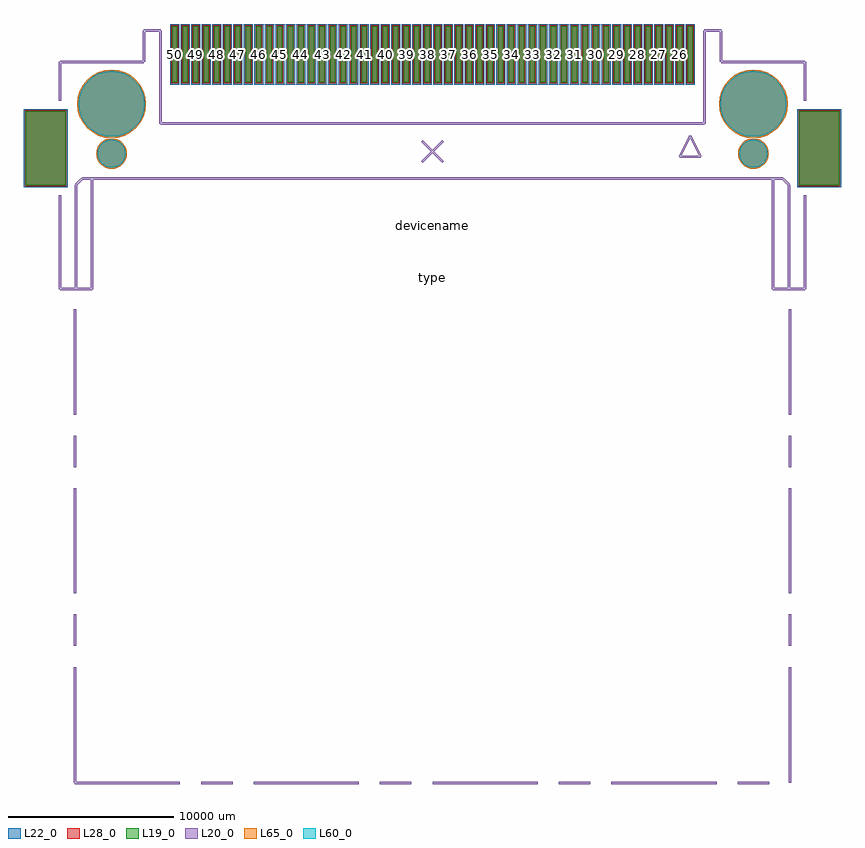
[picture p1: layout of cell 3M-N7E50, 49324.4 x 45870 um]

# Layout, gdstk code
import gdstk
lib = gdstk.Library(unit=1e-6, precision=1e-09)
def R(c, l, rs):  # rectangles x0, y0, x1, y1
    for r in rs: c.add(gdstk.rectangle(r[:2], r[2:], *l))
def A(c, l, x, y, w, h, nx, ny, dx, dy):  # array of equal rectangles
    R(c, l, [(x+i*dx, y+j*dy, x+i*dx+w, y+j*dy+h) for i in range(nx) for j in range(ny)])
def P(c, l, *ps):  # polygons
    for p in ps: c.add(gdstk.Polygon(p, *l))
L19_0 = (19, 0)
L20_0 = (20, 0)
L22_0 = (22, 0)
L28_0 = (28, 0)
L60_0 = (60, 0)
L65_0 = (65, 0)

c_3m_n7e50 = lib.new_cell('3M-N7E50')
A(c_3m_n7e50, L19_0, -15710.7, 4164.8, 306.4, 3405.2, 50, 1, 635, 0)
R(c_3m_n7e50, L19_0, [(-24537.2,-2032.8,-22148,2439.2), (22148,-2032.8,24537.2,2439.2)])
A(c_3m_n7e50, L22_0, -15835.7, 4039.8, 556.4, 3655.2, 50, 1, 635, 0)
R(c_3m_n7e50, L22_0, [(-24662.2,-2157.8,-22023,2564.2), (22023,-2157.8,24662.2,2564.2)])
P(c_3m_n7e50, L22_0, [(20293.4,-127),(20275.609,53.634),(20222.92,227.327),(20137.358,387.402),(20022.21,527.71),(19881.902,642.858),(19721.827,728.42),(19548.134,781.109),(19367.5,798.9),(19186.866,781.109),(19013.173,728.42),(18853.098,642.858),(18712.79,527.71),(18597.642,387.402),(18512.08,227.327),(18459.391,53.634),(18441.6,-127),(18459.391,-307.634),(18512.08,-481.327),(18597.642,-641.402),(18712.79,-781.71),(18853.098,-896.858),(19013.173,-982.42),(19186.866,-1035.109),(19367.5,-1052.9),(19548.134,-1035.109),(19721.827,-982.42),(19881.902,-896.858),(20022.21,-781.71),(20137.358,-641.402),(20222.92,-481.327),(20275.609,-307.634)],
  [(-18441.6,-127),(-18459.391,53.634),(-18512.08,227.327),(-18597.642,387.402),(-18712.79,527.71),(-18853.098,642.858),(-19013.173,728.42),(-19186.866,781.109),(-19367.5,798.9),(-19548.134,781.109),(-19721.827,728.42),(-19881.902,642.858),(-20022.21,527.71),(-20137.358,387.402),(-20222.92,227.327),(-20275.609,53.634),(-20293.4,-127),(-20275.609,-307.634),(-20222.92,-481.327),(-20137.358,-641.402),(-20022.21,-781.71),(-19881.902,-896.858),(-19721.827,-982.42),(-19548.134,-1035.109),(-19367.5,-1052.9),(-19186.866,-1035.109),(-19013.173,-982.42),(-18853.098,-896.858),(-18712.79,-781.71),(-18597.642,-641.402),(-18512.08,-481.327),(-18459.391,-307.634)],
  [(21436.4,2870.2),(21396.647,3273.822),(21278.914,3661.934),(21087.727,4019.619),(20830.433,4333.133),(20516.919,4590.427),(20159.234,4781.614),(19771.122,4899.347),(19367.5,4939.1),(18963.878,4899.347),(18575.766,4781.614),(18218.081,4590.427),(17904.567,4333.133),(17647.273,4019.619),(17456.086,3661.934),(17338.353,3273.822),(17298.6,2870.2),(17338.353,2466.578),(17456.086,2078.466),(17647.273,1720.781),(17904.567,1407.267),(18218.081,1149.973),(18575.766,958.786),(18963.878,841.053),(19367.5,801.3),(19771.122,841.053),(20159.234,958.786),(20516.919,1149.973),(20830.433,1407.267),(21087.727,1720.781),(21278.914,2078.466),(21396.647,2466.578)],
  [(-17298.6,2870.2),(-17338.353,3273.822),(-17456.086,3661.934),(-17647.273,4019.619),(-17904.567,4333.133),(-18218.081,4590.427),(-18575.766,4781.614),(-18963.878,4899.347),(-19367.5,4939.1),(-19771.122,4899.347),(-20159.234,4781.614),(-20516.919,4590.427),(-20830.433,4333.133),(-21087.727,4019.619),(-21278.914,3661.934),(-21396.647,3273.822),(-21436.4,2870.2),(-21396.647,2466.578),(-21278.914,2078.466),(-21087.727,1720.781),(-20830.433,1407.267),(-20516.919,1149.973),(-20159.234,958.786),(-19771.122,841.053),(-19367.5,801.3),(-18963.878,841.053),(-18575.766,958.786),(-18218.081,1149.973),(-17904.567,1407.267),(-17647.273,1720.781),(-17456.086,2078.466),(-17338.353,2466.578)])
A(c_3m_n7e50, L28_0, -15760.7, 4114.8, 406.4, 3505.2, 50, 1, 635, 0)
R(c_3m_n7e50, L28_0, [(-24587.2,-2082.8,-22098,2489.2), (22098,-2082.8,24587.2,2489.2)])
P(c_3m_n7e50, L28_0, [(20218.4,-127),(20202.05,39.002),(20153.629,198.625),(20074.997,345.735),(19969.177,474.677),(19840.235,580.497),(19693.125,659.129),(19533.502,707.55),(19367.5,723.9),(19201.498,707.55),(19041.875,659.129),(18894.765,580.497),(18765.823,474.677),(18660.003,345.735),(18581.371,198.625),(18532.95,39.002),(18516.6,-127),(18532.95,-293.002),(18581.371,-452.625),(18660.003,-599.735),(18765.823,-728.677),(18894.765,-834.497),(19041.875,-913.129),(19201.498,-961.55),(19367.5,-977.9),(19533.502,-961.55),(19693.125,-913.129),(19840.235,-834.497),(19969.177,-728.677),(20074.997,-599.735),(20153.629,-452.625),(20202.05,-293.002)],
  [(-18516.6,-127),(-18532.95,39.002),(-18581.371,198.625),(-18660.003,345.735),(-18765.823,474.677),(-18894.765,580.497),(-19041.875,659.129),(-19201.498,707.55),(-19367.5,723.9),(-19533.502,707.55),(-19693.125,659.129),(-19840.235,580.497),(-19969.177,474.677),(-20074.997,345.735),(-20153.629,198.625),(-20202.05,39.002),(-20218.4,-127),(-20202.05,-293.002),(-20153.629,-452.625),(-20074.997,-599.735),(-19969.177,-728.677),(-19840.235,-834.497),(-19693.125,-913.129),(-19533.502,-961.55),(-19367.5,-977.9),(-19201.498,-961.55),(-19041.875,-913.129),(-18894.765,-834.497),(-18765.823,-728.677),(-18660.003,-599.735),(-18581.371,-452.625),(-18532.95,-293.002)],
  [(21361.4,2870.2),(21323.088,3259.191),(21209.623,3633.232),(21025.367,3977.951),(20777.4,4280.1),(20475.251,4528.067),(20130.532,4712.323),(19756.491,4825.788),(19367.5,4864.1),(18978.509,4825.788),(18604.468,4712.323),(18259.749,4528.067),(17957.6,4280.1),(17709.633,3977.951),(17525.377,3633.232),(17411.912,3259.191),(17373.6,2870.2),(17411.912,2481.209),(17525.377,2107.168),(17709.633,1762.449),(17957.6,1460.3),(18259.749,1212.333),(18604.468,1028.077),(18978.509,914.612),(19367.5,876.3),(19756.491,914.612),(20130.532,1028.077),(20475.251,1212.333),(20777.4,1460.3),(21025.367,1762.449),(21209.623,2107.168),(21323.088,2481.209)],
  [(-17373.6,2870.2),(-17411.912,3259.191),(-17525.377,3633.232),(-17709.633,3977.951),(-17957.6,4280.1),(-18259.749,4528.067),(-18604.468,4712.323),(-18978.509,4825.788),(-19367.5,4864.1),(-19756.491,4825.788),(-20130.532,4712.323),(-20475.251,4528.067),(-20777.4,4280.1),(-21025.367,3977.951),(-21209.623,3633.232),(-21323.088,3259.191),(-21361.4,2870.2),(-21323.088,2481.209),(-21209.623,2107.168),(-21025.367,1762.449),(-20777.4,1460.3),(-20475.251,1212.333),(-20130.532,1028.077),(-19756.491,914.612),(-19367.5,876.3),(-18978.509,914.612),(-18604.468,1028.077),(-18259.749,1212.333),(-17957.6,1460.3),(-17709.633,1762.449),(-17525.377,2107.168),(-17411.912,2481.209)])
P(c_3m_n7e50, L60_0, [(20218.4,-127),(20202.05,39.002),(20153.629,198.625),(20074.997,345.735),(19969.177,474.677),(19840.235,580.497),(19693.125,659.129),(19533.502,707.55),(19367.5,723.9),(19201.498,707.55),(19041.875,659.129),(18894.765,580.497),(18765.823,474.677),(18660.003,345.735),(18581.371,198.625),(18532.95,39.002),(18516.6,-127),(18532.95,-293.002),(18581.371,-452.625),(18660.003,-599.735),(18765.823,-728.677),(18894.765,-834.497),(19041.875,-913.129),(19201.498,-961.55),(19367.5,-977.9),(19533.502,-961.55),(19693.125,-913.129),(19840.235,-834.497),(19969.177,-728.677),(20074.997,-599.735),(20153.629,-452.625),(20202.05,-293.002)],
  [(-18516.6,-127),(-18532.95,39.002),(-18581.371,198.625),(-18660.003,345.735),(-18765.823,474.677),(-18894.765,580.497),(-19041.875,659.129),(-19201.498,707.55),(-19367.5,723.9),(-19533.502,707.55),(-19693.125,659.129),(-19840.235,580.497),(-19969.177,474.677),(-20074.997,345.735),(-20153.629,198.625),(-20202.05,39.002),(-20218.4,-127),(-20202.05,-293.002),(-20153.629,-452.625),(-20074.997,-599.735),(-19969.177,-728.677),(-19840.235,-834.497),(-19693.125,-913.129),(-19533.502,-961.55),(-19367.5,-977.9),(-19201.498,-961.55),(-19041.875,-913.129),(-18894.765,-834.497),(-18765.823,-728.677),(-18660.003,-599.735),(-18581.371,-452.625),(-18532.95,-293.002)],
  [(21361.4,2870.2),(21323.088,3259.191),(21209.623,3633.232),(21025.367,3977.951),(20777.4,4280.1),(20475.251,4528.067),(20130.532,4712.323),(19756.491,4825.788),(19367.5,4864.1),(18978.509,4825.788),(18604.468,4712.323),(18259.749,4528.067),(17957.6,4280.1),(17709.633,3977.951),(17525.377,3633.232),(17411.912,3259.191),(17373.6,2870.2),(17411.912,2481.209),(17525.377,2107.168),(17709.633,1762.449),(17957.6,1460.3),(18259.749,1212.333),(18604.468,1028.077),(18978.509,914.612),(19367.5,876.3),(19756.491,914.612),(20130.532,1028.077),(20475.251,1212.333),(20777.4,1460.3),(21025.367,1762.449),(21209.623,2107.168),(21323.088,2481.209)],
  [(-17373.6,2870.2),(-17411.912,3259.191),(-17525.377,3633.232),(-17709.633,3977.951),(-17957.6,4280.1),(-18259.749,4528.067),(-18604.468,4712.323),(-18978.509,4825.788),(-19367.5,4864.1),(-19756.491,4825.788),(-20130.532,4712.323),(-20475.251,4528.067),(-20777.4,4280.1),(-21025.367,3977.951),(-21209.623,3633.232),(-21323.088,3259.191),(-21361.4,2870.2),(-21323.088,2481.209),(-21209.623,2107.168),(-21025.367,1762.449),(-20777.4,1460.3),(-20475.251,1212.333),(-20130.532,1028.077),(-19756.491,914.612),(-19367.5,876.3),(-18978.509,914.612),(-18604.468,1028.077),(-18259.749,1212.333),(-17957.6,1460.3),(-17709.633,1762.449),(-17525.377,2107.168),(-17411.912,2481.209)])
P(c_3m_n7e50, L65_0, [(20293.4,-127),(20275.609,53.634),(20222.92,227.327),(20137.358,387.402),(20022.21,527.71),(19881.902,642.858),(19721.827,728.42),(19548.134,781.109),(19367.5,798.9),(19186.866,781.109),(19013.173,728.42),(18853.098,642.858),(18712.79,527.71),(18597.642,387.402),(18512.08,227.327),(18459.391,53.634),(18441.6,-127),(18459.391,-307.634),(18512.08,-481.327),(18597.642,-641.402),(18712.79,-781.71),(18853.098,-896.858),(19013.173,-982.42),(19186.866,-1035.109),(19367.5,-1052.9),(19548.134,-1035.109),(19721.827,-982.42),(19881.902,-896.858),(20022.21,-781.71),(20137.358,-641.402),(20222.92,-481.327),(20275.609,-307.634)],
  [(-18441.6,-127),(-18459.391,53.634),(-18512.08,227.327),(-18597.642,387.402),(-18712.79,527.71),(-18853.098,642.858),(-19013.173,728.42),(-19186.866,781.109),(-19367.5,798.9),(-19548.134,781.109),(-19721.827,728.42),(-19881.902,642.858),(-20022.21,527.71),(-20137.358,387.402),(-20222.92,227.327),(-20275.609,53.634),(-20293.4,-127),(-20275.609,-307.634),(-20222.92,-481.327),(-20137.358,-641.402),(-20022.21,-781.71),(-19881.902,-896.858),(-19721.827,-982.42),(-19548.134,-1035.109),(-19367.5,-1052.9),(-19186.866,-1035.109),(-19013.173,-982.42),(-18853.098,-896.858),(-18712.79,-781.71),(-18597.642,-641.402),(-18512.08,-481.327),(-18459.391,-307.634)],
  [(21436.4,2870.2),(21396.647,3273.822),(21278.914,3661.934),(21087.727,4019.619),(20830.433,4333.133),(20516.919,4590.427),(20159.234,4781.614),(19771.122,4899.347),(19367.5,4939.1),(18963.878,4899.347),(18575.766,4781.614),(18218.081,4590.427),(17904.567,4333.133),(17647.273,4019.619),(17456.086,3661.934),(17338.353,3273.822),(17298.6,2870.2),(17338.353,2466.578),(17456.086,2078.466),(17647.273,1720.781),(17904.567,1407.267),(18218.081,1149.973),(18575.766,958.786),(18963.878,841.053),(19367.5,801.3),(19771.122,841.053),(20159.234,958.786),(20516.919,1149.973),(20830.433,1407.267),(21087.727,1720.781),(21278.914,2078.466),(21396.647,2466.578)],
  [(-17298.6,2870.2),(-17338.353,3273.822),(-17456.086,3661.934),(-17647.273,4019.619),(-17904.567,4333.133),(-18218.081,4590.427),(-18575.766,4781.614),(-18963.878,4899.347),(-19367.5,4939.1),(-19771.122,4899.347),(-20159.234,4781.614),(-20516.919,4590.427),(-20830.433,4333.133),(-21087.727,4019.619),(-21278.914,3661.934),(-21396.647,3273.822),(-21436.4,2870.2),(-21396.647,2466.578),(-21278.914,2078.466),(-21087.727,1720.781),(-20830.433,1407.267),(-20516.919,1149.973),(-20159.234,958.786),(-19771.122,841.053),(-19367.5,801.3),(-18963.878,841.053),(-18575.766,958.786),(-18218.081,1149.973),(-17904.567,1407.267),(-17647.273,1720.781),(-17456.086,2078.466),(-17338.353,2466.578)])
c_3m_n7e50.add(gdstk.FlexPath([(22479,5410.2),(22479,3048)], 149.998, ends="flush", simple_path=True, layer=20, datatype=0))  # L20_0
c_3m_n7e50.add(gdstk.FlexPath([(17424.4,5410.2),(22479,5410.2)], 149.998, ends="flush", simple_path=True, layer=20, datatype=0))  # L20_0
c_3m_n7e50.add(gdstk.FlexPath([(17424.4,7289.8),(17424.4,5410.2)], 149.998, ends="flush", simple_path=True, layer=20, datatype=0))  # L20_0
c_3m_n7e50.add(gdstk.FlexPath([(16408.4,7289.8),(17424.4,7289.8)], 149.998, ends="flush", simple_path=True, layer=20, datatype=0))  # L20_0
c_3m_n7e50.add(gdstk.FlexPath([(16408.4,1676.4),(16408.4,7289.8)], 149.998, ends="flush", simple_path=True, layer=20, datatype=0))  # L20_0
c_3m_n7e50.add(gdstk.FlexPath([(-16408.4,1676.4),(16408.4,1676.4)], 149.998, ends="flush", simple_path=True, layer=20, datatype=0))  # L20_0
c_3m_n7e50.add(gdstk.FlexPath([(-16408.4,7289.8),(-16408.4,1676.4)], 149.998, ends="flush", simple_path=True, layer=20, datatype=0))  # L20_0
c_3m_n7e50.add(gdstk.FlexPath([(-17424.4,7289.8),(-16408.4,7289.8)], 149.998, ends="flush", simple_path=True, layer=20, datatype=0))  # L20_0
c_3m_n7e50.add(gdstk.FlexPath([(-17424.4,5410.2),(-17424.4,7289.8)], 149.998, ends="flush", simple_path=True, layer=20, datatype=0))  # L20_0
c_3m_n7e50.add(gdstk.FlexPath([(-22479,5410.2),(-17424.4,5410.2)], 149.998, ends="flush", simple_path=True, layer=20, datatype=0))  # L20_0
c_3m_n7e50.add(gdstk.FlexPath([(-22479,3048),(-22479,5410.2)], 149.998, ends="flush", simple_path=True, layer=20, datatype=0))  # L20_0
c_3m_n7e50.add(gdstk.FlexPath([(22479,-8305.8),(22479,-2641.6)], 149.998, ends="flush", simple_path=True, layer=20, datatype=0))  # L20_0
c_3m_n7e50.add(gdstk.FlexPath([(20548.6,-8305.8),(22479,-8305.8)], 149.998, ends="flush", simple_path=True, layer=20, datatype=0))  # L20_0
c_3m_n7e50.add(gdstk.FlexPath([(20548.6,-1625.6),(20548.6,-8305.8)], 149.998, ends="flush", simple_path=True, layer=20, datatype=0))  # L20_0
c_3m_n7e50.add(gdstk.FlexPath([(-20548.6,-1625.6),(20548.6,-1625.6)], 149.998, ends="flush", simple_path=True, layer=20, datatype=0))  # L20_0
c_3m_n7e50.add(gdstk.FlexPath([(-20548.6,-8305.8),(-20548.6,-1625.6)], 149.998, ends="flush", simple_path=True, layer=20, datatype=0))  # L20_0
c_3m_n7e50.add(gdstk.FlexPath([(-22479,-8305.8),(-20548.6,-8305.8)], 149.998, ends="flush", simple_path=True, layer=20, datatype=0))  # L20_0
c_3m_n7e50.add(gdstk.FlexPath([(-22479,-2641.6),(-22479,-8305.8)], 149.998, ends="flush", simple_path=True, layer=20, datatype=0))  # L20_0
c_3m_n7e50.add(gdstk.FlexPath([(-21132.8,-1625.6),(-20548.6,-1625.6)], 149.998, ends="flush", simple_path=True, layer=20, datatype=0))  # L20_0
c_3m_n7e50.add(gdstk.FlexPath([(-21513.8,-2006.6),(-21132.8,-1625.6)], 149.998, ends="flush", simple_path=True, layer=20, datatype=0))  # L20_0
c_3m_n7e50.add(gdstk.FlexPath([(-21513.8,-8305.8),(-21513.8,-2006.6)], 149.998, ends="flush", simple_path=True, layer=20, datatype=0))  # L20_0
c_3m_n7e50.add(gdstk.FlexPath([(21132.8,-1625.6),(20548.6,-1625.6)], 149.998, ends="flush", simple_path=True, layer=20, datatype=0))  # L20_0
c_3m_n7e50.add(gdstk.FlexPath([(21513.8,-2006.6),(21132.8,-1625.6)], 149.998, ends="flush", simple_path=True, layer=20, datatype=0))  # L20_0
c_3m_n7e50.add(gdstk.FlexPath([(21513.8,-8305.8),(21513.8,-2006.6)], 149.998, ends="flush", simple_path=True, layer=20, datatype=0))  # L20_0
c_3m_n7e50.add(gdstk.FlexPath([(-635,635),(635,-635)], 149.998, ends="flush", simple_path=True, layer=20, datatype=0))  # L20_0
c_3m_n7e50.add(gdstk.FlexPath([(635,635),(-635,-635)], 149.998, ends="flush", simple_path=True, layer=20, datatype=0))  # L20_0
c_3m_n7e50.add(gdstk.FlexPath([(16192.5,-317.5),(15557.5,952.5)], 149.998, ends="flush", simple_path=True, layer=20, datatype=0))  # L20_0
c_3m_n7e50.add(gdstk.FlexPath([(14922.5,-317.5),(16192.5,-317.5)], 149.998, ends="flush", simple_path=True, layer=20, datatype=0))  # L20_0
c_3m_n7e50.add(gdstk.FlexPath([(15557.5,952.5),(14922.5,-317.5)], 149.998, ends="flush", simple_path=True, layer=20, datatype=0))  # L20_0
c_3m_n7e50.add(gdstk.FlexPath([(-21590,-9525),(-21590,-15875)], 149.998, ends="flush", simple_path=True, layer=20, datatype=0))  # L20_0
c_3m_n7e50.add(gdstk.FlexPath([(-21590,-17145),(-21590,-19050)], 149.998, ends="flush", simple_path=True, layer=20, datatype=0))  # L20_0
c_3m_n7e50.add(gdstk.FlexPath([(-21590,-20320),(-21590,-26670)], 149.998, ends="flush", simple_path=True, layer=20, datatype=0))  # L20_0
c_3m_n7e50.add(gdstk.FlexPath([(-21590,-27940),(-21590,-29845)], 149.998, ends="flush", simple_path=True, layer=20, datatype=0))  # L20_0
c_3m_n7e50.add(gdstk.FlexPath([(-21590,-31115),(-21590,-38100)], 149.998, ends="flush", simple_path=True, layer=20, datatype=0))  # L20_0
c_3m_n7e50.add(gdstk.FlexPath([(-21590,-38100),(-15240,-38100)], 149.998, ends="flush", simple_path=True, layer=20, datatype=0))  # L20_0
c_3m_n7e50.add(gdstk.FlexPath([(-13970,-38100),(-12065,-38100)], 149.998, ends="flush", simple_path=True, layer=20, datatype=0))  # L20_0
c_3m_n7e50.add(gdstk.FlexPath([(-10795,-38100),(-4445,-38100)], 149.998, ends="flush", simple_path=True, layer=20, datatype=0))  # L20_0
c_3m_n7e50.add(gdstk.FlexPath([(-3175,-38100),(-1270,-38100)], 149.998, ends="flush", simple_path=True, layer=20, datatype=0))  # L20_0
c_3m_n7e50.add(gdstk.FlexPath([(0,-38100),(6350,-38100)], 149.998, ends="flush", simple_path=True, layer=20, datatype=0))  # L20_0
c_3m_n7e50.add(gdstk.FlexPath([(7620,-38100),(9525,-38100)], 149.998, ends="flush", simple_path=True, layer=20, datatype=0))  # L20_0
c_3m_n7e50.add(gdstk.FlexPath([(10795,-38100),(17145,-38100)], 149.998, ends="flush", simple_path=True, layer=20, datatype=0))  # L20_0
c_3m_n7e50.add(gdstk.FlexPath([(18415,-38100),(20320,-38100)], 149.998, ends="flush", simple_path=True, layer=20, datatype=0))  # L20_0
c_3m_n7e50.add(gdstk.FlexPath([(21590,-9525),(21590,-15875)], 149.998, ends="flush", simple_path=True, layer=20, datatype=0))  # L20_0
c_3m_n7e50.add(gdstk.FlexPath([(21590,-17145),(21590,-19050)], 149.998, ends="flush", simple_path=True, layer=20, datatype=0))  # L20_0
c_3m_n7e50.add(gdstk.FlexPath([(21590,-20320),(21590,-26670)], 149.998, ends="flush", simple_path=True, layer=20, datatype=0))  # L20_0
c_3m_n7e50.add(gdstk.FlexPath([(21590,-27940),(21590,-29845)], 149.998, ends="flush", simple_path=True, layer=20, datatype=0))  # L20_0
c_3m_n7e50.add(gdstk.FlexPath([(21590,-31115),(21590,-38100)], 149.998, ends="flush", simple_path=True, layer=20, datatype=0))  # L20_0
c_3m_n7e50.add(gdstk.Label('50', (-15557.5,5867.4), layer=28, texttype=0))
c_3m_n7e50.add(gdstk.Label('25', (-14922.5,5867.4), layer=28, texttype=0))
c_3m_n7e50.add(gdstk.Label('49', (-14287.5,5867.4), layer=28, texttype=0))
c_3m_n7e50.add(gdstk.Label('24', (-13652.5,5867.4), layer=28, texttype=0))
c_3m_n7e50.add(gdstk.Label('48', (-13017.5,5867.4), layer=28, texttype=0))
c_3m_n7e50.add(gdstk.Label('23', (-12382.5,5867.4), layer=28, texttype=0))
c_3m_n7e50.add(gdstk.Label('47', (-11747.5,5867.4), layer=28, texttype=0))
c_3m_n7e50.add(gdstk.Label('22', (-11112.5,5867.4), layer=28, texttype=0))
c_3m_n7e50.add(gdstk.Label('46', (-10477.5,5867.4), layer=28, texttype=0))
c_3m_n7e50.add(gdstk.Label('21', (-9842.5,5867.4), layer=28, texttype=0))
c_3m_n7e50.add(gdstk.Label('45', (-9207.5,5867.4), layer=28, texttype=0))
c_3m_n7e50.add(gdstk.Label('20', (-8572.5,5867.4), layer=28, texttype=0))
c_3m_n7e50.add(gdstk.Label('44', (-7937.5,5867.4), layer=28, texttype=0))
c_3m_n7e50.add(gdstk.Label('19', (-7302.5,5867.4), layer=28, texttype=0))
c_3m_n7e50.add(gdstk.Label('43', (-6667.5,5867.4), layer=28, texttype=0))
c_3m_n7e50.add(gdstk.Label('18', (-6032.5,5867.4), layer=28, texttype=0))
c_3m_n7e50.add(gdstk.Label('42', (-5397.5,5867.4), layer=28, texttype=0))
c_3m_n7e50.add(gdstk.Label('17', (-4762.5,5867.4), layer=28, texttype=0))
c_3m_n7e50.add(gdstk.Label('41', (-4127.5,5867.4), layer=28, texttype=0))
c_3m_n7e50.add(gdstk.Label('16', (-3492.5,5867.4), layer=28, texttype=0))
c_3m_n7e50.add(gdstk.Label('40', (-2857.5,5867.4), layer=28, texttype=0))
c_3m_n7e50.add(gdstk.Label('15', (-2222.5,5867.4), layer=28, texttype=0))
c_3m_n7e50.add(gdstk.Label('39', (-1587.5,5867.4), layer=28, texttype=0))
c_3m_n7e50.add(gdstk.Label('14', (-952.5,5867.4), layer=28, texttype=0))
c_3m_n7e50.add(gdstk.Label('38', (-317.5,5867.4), layer=28, texttype=0))
c_3m_n7e50.add(gdstk.Label('13', (317.5,5867.4), layer=28, texttype=0))
c_3m_n7e50.add(gdstk.Label('37', (952.5,5867.4), layer=28, texttype=0))
c_3m_n7e50.add(gdstk.Label('12', (1587.5,5867.4), layer=28, texttype=0))
c_3m_n7e50.add(gdstk.Label('36', (2222.5,5867.4), layer=28, texttype=0))
c_3m_n7e50.add(gdstk.Label('11', (2857.5,5867.4), layer=28, texttype=0))
c_3m_n7e50.add(gdstk.Label('35', (3492.5,5867.4), layer=28, texttype=0))
c_3m_n7e50.add(gdstk.Label('10', (4127.5,5867.4), layer=28, texttype=0))
c_3m_n7e50.add(gdstk.Label('34', (4762.5,5867.4), layer=28, texttype=0))
c_3m_n7e50.add(gdstk.Label('9', (5397.5,5867.4), layer=28, texttype=0))
c_3m_n7e50.add(gdstk.Label('33', (6032.5,5867.4), layer=28, texttype=0))
c_3m_n7e50.add(gdstk.Label('8', (6667.5,5867.4), layer=28, texttype=0))
c_3m_n7e50.add(gdstk.Label('32', (7302.5,5867.4), layer=28, texttype=0))
c_3m_n7e50.add(gdstk.Label('7', (7937.5,5867.4), layer=28, texttype=0))
c_3m_n7e50.add(gdstk.Label('31', (8572.5,5867.4), layer=28, texttype=0))
c_3m_n7e50.add(gdstk.Label('6', (9207.5,5867.4), layer=28, texttype=0))
c_3m_n7e50.add(gdstk.Label('30', (9842.5,5867.4), layer=28, texttype=0))
c_3m_n7e50.add(gdstk.Label('5', (10477.5,5867.4), layer=28, texttype=0))
c_3m_n7e50.add(gdstk.Label('29', (11112.5,5867.4), layer=28, texttype=0))
c_3m_n7e50.add(gdstk.Label('4', (11747.5,5867.4), layer=28, texttype=0))
c_3m_n7e50.add(gdstk.Label('28', (12382.5,5867.4), layer=28, texttype=0))
c_3m_n7e50.add(gdstk.Label('3', (13017.5,5867.4), layer=28, texttype=0))
c_3m_n7e50.add(gdstk.Label('27', (13652.5,5867.4), layer=28, texttype=0))
c_3m_n7e50.add(gdstk.Label('2', (14287.5,5867.4), layer=28, texttype=0))
c_3m_n7e50.add(gdstk.Label('26', (14922.5,5867.4), layer=28, texttype=0))
c_3m_n7e50.add(gdstk.Label('1', (15557.5,5867.4), layer=28, texttype=0))
c_3m_n7e50.add(gdstk.Label('type', (0,-7620), layer=9, texttype=0))
c_3m_n7e50.add(gdstk.Label('devicename', (0,-4445), layer=9, texttype=0))

lib.write_gds('3M-N7E50.gds')
